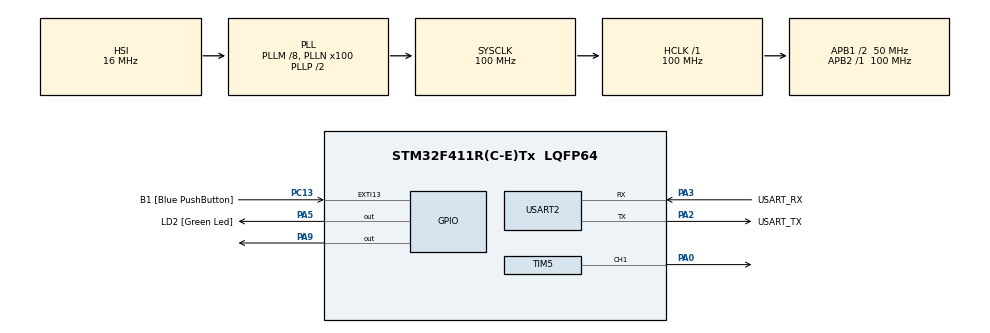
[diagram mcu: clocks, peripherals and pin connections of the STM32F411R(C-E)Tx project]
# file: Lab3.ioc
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Mcu.Family=STM32F4
Mcu.Name=STM32F411R(C-E)Tx
Mcu.Package=LQFP64
NVIC.EXTI15_10_IRQn=true\:2\:0\:true\:false\:true\:true\:true\:true
NVIC.PriorityGroup=NVIC_PRIORITYGROUP_2
NVIC.TIM2_IRQn=true\:0\:0\:false\:false\:true\:true\:true\:true
NVIC.TIM3_IRQn=true\:0\:0\:false\:false\:true\:true\:true\:true
NVIC.TIM4_IRQn=true\:0\:0\:false\:false\:true\:true\:true\:true
NVIC.USART2_IRQn=true\:0\:0\:false\:false\:true\:true\:true\:true
PA0-WKUP.Signal=S_TIM5_CH1
PA13.GPIO_Label=TMS
PA13.Mode=Serial_Wire
PA13.Signal=SYS_JTMS-SWDIO
PA14.GPIO_Label=TCK
PA14.Mode=Serial_Wire
PA14.Signal=SYS_JTCK-SWCLK
PA2.GPIO_Label=USART_TX
PA2.Mode=Asynchronous
PA2.Signal=USART2_TX
PA3.GPIO_Label=USART_RX
PA3.Mode=Asynchronous
PA3.Signal=USART2_RX
PA5.GPIO_Label=LD2 [Green Led]
PA5.Signal=GPIO_Output
PA9.Signal=GPIO_Output
PB3.GPIO_Label=SWO
PB3.Signal=SYS_JTDO-SWO
PC13-ANTI_TAMP.GPIO_Label=B1 [Blue PushButton]
PC13-ANTI_TAMP.GPIO_ModeDefaultEXTI=GPIO_MODE_IT_FALLING
PC13-ANTI_TAMP.Signal=GPXTI13
PC14-OSC32_IN.Mode=LSE-External-Oscillator
PC14-OSC32_IN.Signal=RCC_OSC32_IN
PC15-OSC32_OUT.Mode=LSE-External-Oscillator
PC15-OSC32_OUT.Signal=RCC_OSC32_OUT
PH0\ -\ OSC_IN.Mode=HSE-External-Clock-Source
PH0\ -\ OSC_IN.Signal=RCC_OSC_IN
PH1\ -\ OSC_OUT.Mode=HSE-External-Clock-Source
PH1\ -\ OSC_OUT.Signal=RCC_OSC_OUT
ProjectManager.HeapSize=0x200
ProjectManager.StackSize=0x400
ProjectManager.TargetToolchain=STM32CubeIDE
RCC.48MHZClocksFreq_Value=50000000
RCC.AHBFreq_Value=100000000
RCC.APB1CLKDivider=RCC_HCLK_DIV2
RCC.APB1Freq_Value=50000000
RCC.APB1TimFreq_Value=100000000
RCC.APB2Freq_Value=100000000
RCC.APB2TimFreq_Value=100000000
RCC.CortexFreq_Value=100000000
RCC.FLatency-AdvancedSettings=FLASH_LATENCY_3
RCC.HCLKFreq_Value=100000000
RCC.HSE_VALUE=8000000
RCC.HSI_VALUE=16000000
RCC.PLLM=8
RCC.PLLN=100
RCC.SYSCLKFreq_VALUE=100000000
RCC.SYSCLKSource=RCC_SYSCLKSOURCE_PLLCLK
RCC.VCOOutputFreq_Value=200000000
SH.S_TIM5_CH1.0=TIM5_CH1,PWM Generation1 CH1
TIM2.AutoReloadPreload=TIM_AUTORELOAD_PRELOAD_ENABLE
TIM2.Period=500000
TIM2.Prescaler=100
TIM3.AutoReloadPreload=TIM_AUTORELOAD_PRELOAD_ENABLE
TIM3.Period=10900
TIM3.Prescaler=4500
TIM4.AutoReloadPreload=TIM_AUTORELOAD_PRELOAD_ENABLE
TIM4.Period=10100
TIM4.Prescaler=9900
TIM5.AutoReloadPreload=TIM_AUTORELOAD_PRELOAD_ENABLE
TIM5.Channel-PWM\ Generation1\ CH1=TIM_CHANNEL_1
TIM5.Period=100
TIM5.Prescaler=100
TIM5.Pulse-PWM\ Generation1\ CH1=50
USART2.VirtualMode=VM_ASYNC
VP_TIM2_VS_ClockSourceINT.Mode=Internal
VP_TIM3_VS_ClockSourceINT.Mode=Internal
VP_TIM4_VS_ClockSourceINT.Mode=Internal
VP_TIM5_VS_ClockSourceINT.Mode=Internal
board=NUCLEO-F411RE

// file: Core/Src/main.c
/* USER CODE BEGIN Header */
/**
  ******************************************************************************
  * @file           : main.c
  * @brief          : Main program body
  ******************************************************************************
  * @attention
  *
  * Copyright (c) 2023 STMicroelectronics.
  * All rights reserved.
  *
  * This software is licensed under terms that can be found in the LICENSE file
  * in the root directory of this software component.
  * If no LICENSE file comes with this software, it is provided AS-IS.
  *
  ******************************************************************************
  */
/* USER CODE END Header */
#include "main.h"

TIM_HandleTypeDef htim2;
TIM_HandleTypeDef htim3;
TIM_HandleTypeDef htim4;
TIM_HandleTypeDef htim5;

UART_HandleTypeDef huart2;

void SystemClock_Config(void);
static void MX_GPIO_Init(void);
static void MX_USART2_UART_Init(void);
static void MX_TIM2_Init(void);
static void MX_TIM3_Init(void);
static void MX_TIM4_Init(void);
static void MX_TIM5_Init(void);

/* USER CODE BEGIN 0 */
int delayTime[] = {200,1000,5000};
int delayCounter = 0;
uint8_t buffer[3];
/* USER CODE END 0 */

int main(void)
{

  /* MCU Configuration--------------------------------------------------------*/

  /* Reset of all peripherals, Initializes the Flash interface and the Systick. */
  HAL_Init();

  /* Configure the system clock */
  SystemClock_Config();

  /* Initialize all configured peripherals */
  MX_GPIO_Init();
  MX_USART2_UART_Init();
  MX_TIM2_Init();
  MX_TIM3_Init();
  MX_TIM4_Init();
  MX_TIM5_Init();
  /* USER CODE BEGIN 2 */

//	Lab 3-2: generate clock signal from any output pins with 100 microsecond period and use an oscilloscope to monitor the signal
//  HAL_TIM_PWM_Start(&htim5, TIM_CHANNEL_1);

//	Lab 3-3: blink (on/off) green LED (LD5) with 500 milliseconds period and green LED (LD4) with 490.5 milliseconds period and display the number of both red and green LED blinkings every 999.9 milliseconds on Serial terminal via UART. (using interrupt timer)
//  HAL_TIM_Base_Start_IT(&htim4);
//  HAL_TIM_Base_Start_IT(&htim2);
//  HAL_TIM_Base_Start_IT(&htim3);

//	Lab 3-4: echo back (transmit the receive data) the communication data from UART peripheral (USART2) interface similar to Lab 2 but use an interrupt for receiving the data instead
//  HAL_UART_Receive_IT(&huart2, buffer, sizeof(buffer));

  /* USER CODE END 2 */

  /* Infinite loop */
  /* USER CODE BEGIN WHILE */
  while (1)
  {
//	Lab 3-1: blink (on/off) green LED with changeable period (External interrupt/event controller (EXTI) is required)
//	HAL_GPIO_TogglePin(GPIOA, GPIO_PIN_5);
//	HAL_Delay(delayTime[delayCounter]/2);

    /* USER CODE END WHILE */

  }
}

void SystemClock_Config(void)
{
  RCC_OscInitTypeDef RCC_OscInitStruct = {0};
  RCC_ClkInitTypeDef RCC_ClkInitStruct = {0};

  /** Configure the main internal regulator output voltage
  */
  __HAL_RCC_PWR_CLK_ENABLE();
  __HAL_PWR_VOLTAGESCALING_CONFIG(PWR_REGULATOR_VOLTAGE_SCALE1);

  /** Initializes the RCC Oscillators according to the specified parameters
  * in the RCC_OscInitTypeDef structure.
  */
  RCC_OscInitStruct.OscillatorType = RCC_OSCILLATORTYPE_HSI;
  RCC_OscInitStruct.HSIState = RCC_HSI_ON;
  RCC_OscInitStruct.HSICalibrationValue = RCC_HSICALIBRATION_DEFAULT;
  RCC_OscInitStruct.PLL.PLLState = RCC_PLL_ON;
  RCC_OscInitStruct.PLL.PLLSource = RCC_PLLSOURCE_HSI;
  RCC_OscInitStruct.PLL.PLLM = 8;
  RCC_OscInitStruct.PLL.PLLN = 100;
  RCC_OscInitStruct.PLL.PLLP = RCC_PLLP_DIV2;
  RCC_OscInitStruct.PLL.PLLQ = 4;
  if (HAL_RCC_OscConfig(&RCC_OscInitStruct) != HAL_OK)
  {
    Error_Handler();
  }

  /** Initializes the CPU, AHB and APB buses clocks
  */
  RCC_ClkInitStruct.ClockType = RCC_CLOCKTYPE_HCLK|RCC_CLOCKTYPE_SYSCLK
                              |RCC_CLOCKTYPE_PCLK1|RCC_CLOCKTYPE_PCLK2;
  RCC_ClkInitStruct.SYSCLKSource = RCC_SYSCLKSOURCE_PLLCLK;
  RCC_ClkInitStruct.AHBCLKDivider = RCC_SYSCLK_DIV1;
  RCC_ClkInitStruct.APB1CLKDivider = RCC_HCLK_DIV2;
  RCC_ClkInitStruct.APB2CLKDivider = RCC_HCLK_DIV1;

  if (HAL_RCC_ClockConfig(&RCC_ClkInitStruct, FLASH_LATENCY_3) != HAL_OK)
  {
    Error_Handler();
  }
}

static void MX_TIM2_Init(void)
{

  TIM_ClockConfigTypeDef sClockSourceConfig = {0};
  TIM_MasterConfigTypeDef sMasterConfig = {0};

  htim2.Instance = TIM2;
  htim2.Init.Prescaler = 100;
  htim2.Init.CounterMode = TIM_COUNTERMODE_UP;
  htim2.Init.Period = 500000;
  htim2.Init.ClockDivision = TIM_CLOCKDIVISION_DIV1;
  htim2.Init.AutoReloadPreload = TIM_AUTORELOAD_PRELOAD_ENABLE;
  if (HAL_TIM_Base_Init(&htim2) != HAL_OK)
  {
    Error_Handler();
  }
  sClockSourceConfig.ClockSource = TIM_CLOCKSOURCE_INTERNAL;
  if (HAL_TIM_ConfigClockSource(&htim2, &sClockSourceConfig) != HAL_OK)
  {
    Error_Handler();
  }
  sMasterConfig.MasterOutputTrigger = TIM_TRGO_RESET;
  sMasterConfig.MasterSlaveMode = TIM_MASTERSLAVEMODE_DISABLE;
  if (HAL_TIMEx_MasterConfigSynchronization(&htim2, &sMasterConfig) != HAL_OK)
  {
    Error_Handler();
  }

}

static void MX_TIM3_Init(void)
{

  TIM_ClockConfigTypeDef sClockSourceConfig = {0};
  TIM_MasterConfigTypeDef sMasterConfig = {0};

  htim3.Instance = TIM3;
  htim3.Init.Prescaler = 4500;
  htim3.Init.CounterMode = TIM_COUNTERMODE_UP;
  htim3.Init.Period = 10900;
  htim3.Init.ClockDivision = TIM_CLOCKDIVISION_DIV1;
  htim3.Init.AutoReloadPreload = TIM_AUTORELOAD_PRELOAD_ENABLE;
  if (HAL_TIM_Base_Init(&htim3) != HAL_OK)
  {
    Error_Handler();
  }
  sClockSourceConfig.ClockSource = TIM_CLOCKSOURCE_INTERNAL;
  if (HAL_TIM_ConfigClockSource(&htim3, &sClockSourceConfig) != HAL_OK)
  {
    Error_Handler();
  }
  sMasterConfig.MasterOutputTrigger = TIM_TRGO_RESET;
  sMasterConfig.MasterSlaveMode = TIM_MASTERSLAVEMODE_DISABLE;
  if (HAL_TIMEx_MasterConfigSynchronization(&htim3, &sMasterConfig) != HAL_OK)
  {
    Error_Handler();
  }

}

static void MX_TIM4_Init(void)
{

  TIM_ClockConfigTypeDef sClockSourceConfig = {0};
  TIM_MasterConfigTypeDef sMasterConfig = {0};

  htim4.Instance = TIM4;
  htim4.Init.Prescaler = 9900;
  htim4.Init.CounterMode = TIM_COUNTERMODE_UP;
  htim4.Init.Period = 10100;
  htim4.Init.ClockDivision = TIM_CLOCKDIVISION_DIV1;
  htim4.Init.AutoReloadPreload = TIM_AUTORELOAD_PRELOAD_ENABLE;
  if (HAL_TIM_Base_Init(&htim4) != HAL_OK)
  {
    Error_Handler();
  }
  sClockSourceConfig.ClockSource = TIM_CLOCKSOURCE_INTERNAL;
  if (HAL_TIM_ConfigClockSource(&htim4, &sClockSourceConfig) != HAL_OK)
  {
    Error_Handler();
  }
  sMasterConfig.MasterOutputTrigger = TIM_TRGO_RESET;
  sMasterConfig.MasterSlaveMode = TIM_MASTERSLAVEMODE_DISABLE;
  if (HAL_TIMEx_MasterConfigSynchronization(&htim4, &sMasterConfig) != HAL_OK)
  {
    Error_Handler();
  }

}

static void MX_TIM5_Init(void)
{

  TIM_ClockConfigTypeDef sClockSourceConfig = {0};
  TIM_MasterConfigTypeDef sMasterConfig = {0};
  TIM_OC_InitTypeDef sConfigOC = {0};

  htim5.Instance = TIM5;
  htim5.Init.Prescaler = 100;
  htim5.Init.CounterMode = TIM_COUNTERMODE_UP;
  htim5.Init.Period = 100;
  htim5.Init.ClockDivision = TIM_CLOCKDIVISION_DIV1;
  htim5.Init.AutoReloadPreload = TIM_AUTORELOAD_PRELOAD_ENABLE;
  if (HAL_TIM_Base_Init(&htim5) != HAL_OK)
  {
    Error_Handler();
  }
  sClockSourceConfig.ClockSource = TIM_CLOCKSOURCE_INTERNAL;
  if (HAL_TIM_ConfigClockSource(&htim5, &sClockSourceConfig) != HAL_OK)
  {
    Error_Handler();
  }
  if (HAL_TIM_PWM_Init(&htim5) != HAL_OK)
  {
    Error_Handler();
  }
  sMasterConfig.MasterOutputTrigger = TIM_TRGO_RESET;
  sMasterConfig.MasterSlaveMode = TIM_MASTERSLAVEMODE_DISABLE;
  if (HAL_TIMEx_MasterConfigSynchronization(&htim5, &sMasterConfig) != HAL_OK)
  {
    Error_Handler();
  }
  sConfigOC.OCMode = TIM_OCMODE_PWM1;
  sConfigOC.Pulse = 50;
  sConfigOC.OCPolarity = TIM_OCPOLARITY_HIGH;
  sConfigOC.OCFastMode = TIM_OCFAST_DISABLE;
  if (HAL_TIM_PWM_ConfigChannel(&htim5, &sConfigOC, TIM_CHANNEL_1) != HAL_OK)
  {
    Error_Handler();
  }
  HAL_TIM_MspPostInit(&htim5);

}

static void MX_USART2_UART_Init(void)
{

  huart2.Instance = USART2;
  huart2.Init.BaudRate = 115200;
  huart2.Init.WordLength = UART_WORDLENGTH_8B;
  huart2.Init.StopBits = UART_STOPBITS_1;
  huart2.Init.Parity = UART_PARITY_NONE;
  huart2.Init.Mode = UART_MODE_TX_RX;
  huart2.Init.HwFlowCtl = UART_HWCONTROL_NONE;
  huart2.Init.OverSampling = UART_OVERSAMPLING_16;
  if (HAL_UART_Init(&huart2) != HAL_OK)
  {
    Error_Handler();
  }

}

static void MX_GPIO_Init(void)
{
  GPIO_InitTypeDef GPIO_InitStruct = {0};

  /* GPIO Ports Clock Enable */
  __HAL_RCC_GPIOC_CLK_ENABLE();
  __HAL_RCC_GPIOH_CLK_ENABLE();
  __HAL_RCC_GPIOA_CLK_ENABLE();
  __HAL_RCC_GPIOB_CLK_ENABLE();

  /*Configure GPIO pin Output Level */
  HAL_GPIO_WritePin(GPIOA, LD2_Pin|GPIO_PIN_9, GPIO_PIN_RESET);

  /*Configure GPIO pin : B1_Pin */
  GPIO_InitStruct.Pin = B1_Pin;
  GPIO_InitStruct.Mode = GPIO_MODE_IT_FALLING;
  GPIO_InitStruct.Pull = GPIO_NOPULL;
  HAL_GPIO_Init(B1_GPIO_Port, &GPIO_InitStruct);

  /*Configure GPIO pins : LD2_Pin PA9 */
  GPIO_InitStruct.Pin = LD2_Pin|GPIO_PIN_9;
  GPIO_InitStruct.Mode = GPIO_MODE_OUTPUT_PP;
  GPIO_InitStruct.Pull = GPIO_NOPULL;
  GPIO_InitStruct.Speed = GPIO_SPEED_FREQ_LOW;
  HAL_GPIO_Init(GPIOA, &GPIO_InitStruct);

  /* EXTI interrupt init*/
  HAL_NVIC_SetPriority(EXTI15_10_IRQn, 2, 0);
  HAL_NVIC_EnableIRQ(EXTI15_10_IRQn);

}

/* USER CODE BEGIN 4 */
void HAL_GPIO_EXTI_Callback(uint16_t GPIO_Pin){
	if(GPIO_Pin == GPIO_PIN_13){
		delayCounter++;
		delayCounter%=3;
	}else{
		__NOP();
	}
}

int greenCounter = 0,redCounter = 0;
void HAL_TIM_PeriodElapsedCallback(TIM_HandleTypeDef* htim){
	// TIM1 is used for display through UART
	if(htim->Instance == TIM4){
		// Display the counter values via UART
		HAL_UART_Transmit(&huart2, "Green: ", 7, 100);
		HAL_UART_Transmit(&huart2, itoa(greenCounter, buffer, 10), 3, 100);
		HAL_UART_Transmit(&huart2, "\tRed: ", 6, 100);
		HAL_UART_Transmit(&huart2, itoa(redCounter, buffer, 10), 3, 100);
		HAL_UART_Transmit(&huart2, "\r\n", 2, 100);
	}else if(htim->Instance == TIM2){
		HAL_GPIO_TogglePin(GPIOA, GPIO_PIN_5);
		greenCounter++;
	}else if(htim->Instance == TIM3){
		HAL_GPIO_TogglePin(GPIOA, GPIO_PIN_9);
		redCounter++;
	}
}

void HAL_UART_RxCpltCallback(UART_HandleTypeDef *huart){
	HAL_UART_Transmit(&huart2, buffer, sizeof buffer, 100);
	HAL_UART_Transmit(&huart2, "\r\n", 2, 100);
	HAL_UART_Receive_IT(&huart2, buffer, sizeof(buffer));
}
/* USER CODE END 4 */

void Error_Handler(void)
{
  __disable_irq();
  while (1)
  {
  }
}
